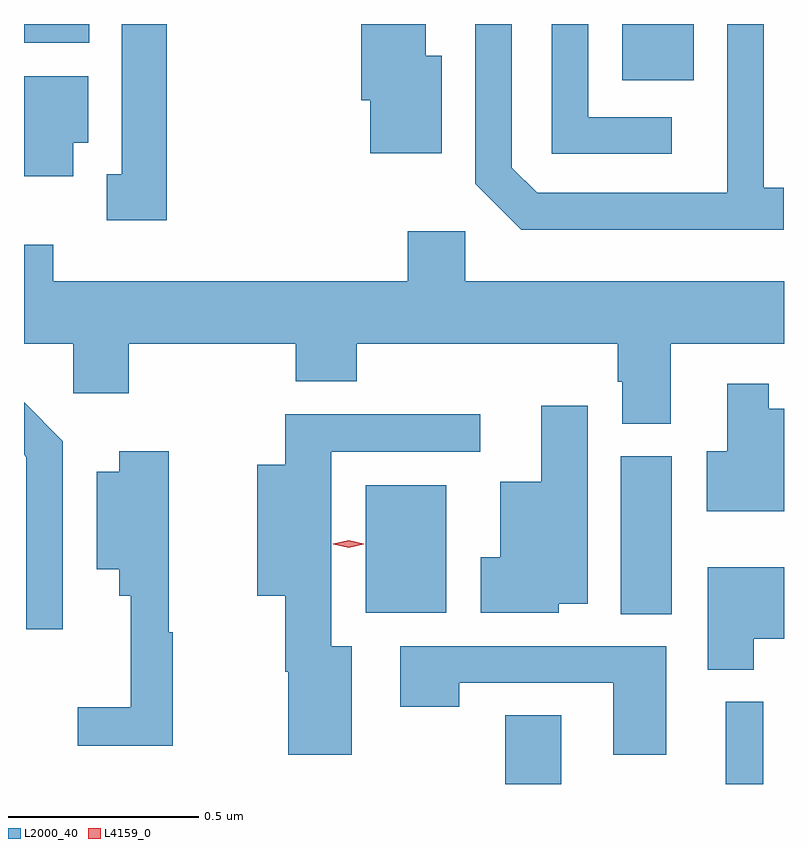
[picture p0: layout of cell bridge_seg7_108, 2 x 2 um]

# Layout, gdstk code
import gdstk
lib = gdstk.Library(unit=1e-6, precision=1e-09)
def R(c, l, rs):  # rectangles x0, y0, x1, y1
    for r in rs: c.add(gdstk.rectangle(r[:2], r[2:], *l))
def P(c, l, *ps):  # polygons
    for p in ps: c.add(gdstk.Polygon(p, *l))
L2000_40 = (2000, 40)
L4159_0 = (4159, 0)

bridge_seg7_108 = lib.new_cell('bridge_seg7_108')
R(bridge_seg7_108, L2000_40, [(1047.718,1019.437,1047.865,1019.618), (1048.298,1019.437,1048.397,1019.653), (1048.022,1019.884,1048.156,1020.3), (1047.35,1019.888,1047.562,1020.223), (1048.025,1021.289,1048.213,1021.437), (1046.451,1021.388,1046.623,1021.437)])
P(bridge_seg7_108, L2000_40, [(1048.156,1021.191),(1047.936,1021.191),(1047.936,1021.437),(1047.84,1021.437),(1047.84,1021.095),(1048.156,1021.095)],
  [(1047.55,1021.354),(1047.508,1021.354),(1047.508,1021.437),(1047.338,1021.437),(1047.338,1021.236),(1047.362,1021.236),(1047.362,1021.097),(1047.55,1021.097)],
  [(1046.827,1021.437),(1046.708,1021.437),(1046.708,1021.041),(1046.669,1021.041),(1046.669,1020.921),(1046.827,1020.921)],
  [(1048.45,1021.006),(1048.398,1021.006),(1048.398,1021.437),(1048.302,1021.437),(1048.302,1021.193),(1048.301,1021.193),(1048.301,1020.993),(1047.801,1020.993),(1047.735,1021.059),(1047.735,1021.437),(1047.639,1021.437),(1047.639,1021.017),(1047.76,1020.896),(1048.45,1020.896)],
  [(1046.581,1021.124),(1046.62,1021.124),(1046.62,1021.3),(1046.451,1021.3),(1046.451,1021.037),(1046.581,1021.037)],
  [(1048.153,1020.596),(1048.451,1020.596),(1048.451,1020.76),(1047.612,1020.76),(1047.612,1020.892),(1047.461,1020.892),(1047.461,1020.76),(1046.528,1020.76),(1046.528,1020.856),(1046.451,1020.856),(1046.451,1020.596),(1046.58,1020.596),(1046.58,1020.465),(1046.727,1020.465),(1046.727,1020.596),(1047.166,1020.596),(1047.166,1020.497),(1047.326,1020.497),(1047.326,1020.596),(1048.013,1020.596),(1048.013,1020.495),(1048.025,1020.495),(1048.025,1020.385),(1048.153,1020.385)],
  [(1048.451,1020.424),(1048.411,1020.424),(1048.411,1020.49),(1048.301,1020.49),(1048.301,1020.313),(1048.248,1020.313),(1048.248,1020.155),(1048.451,1020.155)],
  [(1046.553,1020.339),(1046.451,1020.441),(1046.451,1020.303),(1046.457,1020.297),(1046.457,1019.844),(1046.553,1019.844)],
  [(1047.858,1019.912),(1047.934,1019.912),(1047.934,1020.433),(1047.812,1020.433),(1047.812,1020.232),(1047.704,1020.232),(1047.704,1020.034),(1047.653,1020.034),(1047.653,1019.888),(1047.858,1019.888)],
  [(1047.313,1019.8),(1047.259,1019.8),(1047.259,1020.312),(1047.652,1020.312),(1047.652,1020.41),(1047.139,1020.41),(1047.139,1020.277),(1047.065,1020.277),(1047.065,1019.933),(1047.139,1019.933),(1047.139,1019.732),(1047.146,1019.732),(1047.146,1019.514),(1047.313,1019.514)],
  [(1046.842,1019.837),(1046.832,1019.837),(1046.832,1020.313),(1046.702,1020.313),(1046.702,1020.259),(1046.642,1020.259),(1046.642,1020.002),(1046.702,1020.002),(1046.702,1019.933),(1046.732,1019.933),(1046.732,1019.639),(1046.592,1019.639),(1046.592,1019.538),(1046.842,1019.538)],
  [(1048.372,1019.819),(1048.451,1019.819),(1048.451,1020.007),(1048.25,1020.007),(1048.25,1019.738),(1048.372,1019.738)],
  [(1048.141,1019.799),(1047.441,1019.799),(1047.441,1019.64),(1047.597,1019.64),(1047.597,1019.703),(1048.001,1019.703),(1048.001,1019.514),(1048.141,1019.514)])
P(bridge_seg7_108, L4159_0, [(1047.305,1020.059),(1047.265,1020.068),(1047.264,1020.069),(1047.265,1020.069),(1047.305,1020.079),(1047.345,1020.069),(1047.345,1020.069),(1047.345,1020.068)])

lib.write_gds('bridge_seg7_108.gds')
